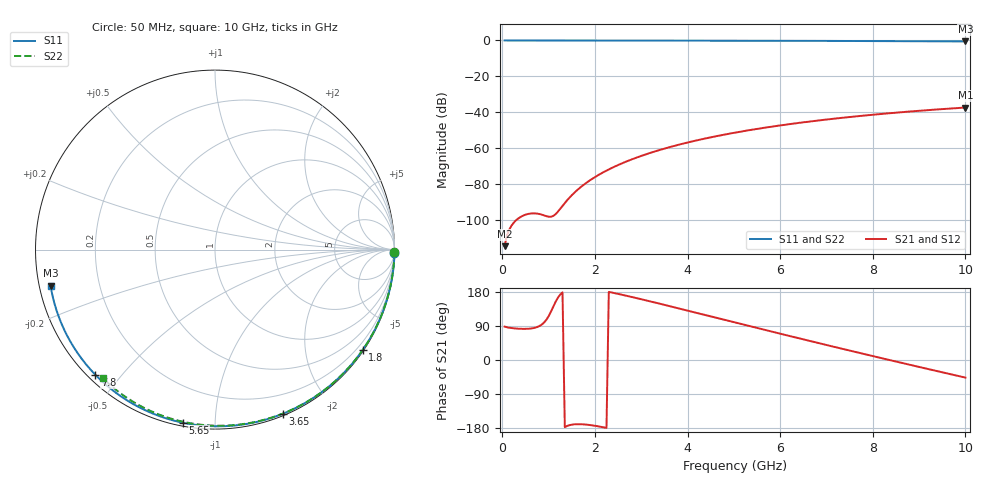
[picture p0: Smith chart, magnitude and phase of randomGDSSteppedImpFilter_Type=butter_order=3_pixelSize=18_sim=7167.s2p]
! freq	dB(S11)	phase(S11)	dB(S12)	phase(S12)
!  dB(S21)	phase(S21)	dB(S22)	phase(S22)
!S-par simulation data
#  GHz  S  DB  R 50
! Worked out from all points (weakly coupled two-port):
!   200 points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, 50 MHz to 10 GHz, reference 50 ohm
!   highest |S21| = -37.32 dB at 10 GHz (marker M1); lowest = -114.5 dB at 50 MHz (marker M2)
!   lowest |S11| = -0.6 dB at 10 GHz (marker M3), VSWR 31.23, Z = 1.62 - j5.42 ohm
!   |S11| at or under -10 dB: nowhere
!   |S22| runs from -0.4 to 0.0 dB; largest |S21 - S12| = 0
!   S11 on the Smith chart (normalised r, x): 50 MHz: open; 1.8 GHz: 0.03, -3.24; 3.65 GHz: 0.02, -1.50; 5.65 GHz: 0.02, -0.83; 7.8 GHz: 0.02, -0.43; 10 GHz: 0.03, -0.11
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0.05  -0.00 -1.0  -114.47 88.1  -114.47 88.1  -0.00 -0.8
0.45  -0.01 -8.7  -97.46 82.2  -97.46 82.2  -0.01 -6.8
0.85  -0.02 -16.4  -96.90 93.3  -96.90 93.3  -0.02 -12.8
1.3  -0.03 -24.9  -92.04 178.6  -92.04 178.6  -0.02 -19.5
1.75  -0.04 -33.4  -80.46 -169.8  -80.46 -169.8  -0.03 -26.2
1.8  -0.04 -34.3  -79.49 -170.3  -79.49 -170.3  -0.03 -26.9
2.1  -0.05 -39.8  -74.51 -175.6  -74.51 -175.6  -0.04 -31.3
2.3  -0.06 -43.5  -71.75 179.7  -71.75 179.7  -0.04 -34.2
2.5  -0.06 -47.1  -69.32 174.5  -69.32 174.5  -0.05 -37.0
2.9  -0.07 -54.3  -65.17 163.3  -65.17 163.3  -0.06 -42.8
3.4  -0.08 -63.2  -60.93 148.6  -60.93 148.6  -0.07 -49.8
3.65  -0.09 -67.5  -59.10 141.0  -59.10 141.0  -0.07 -53.3
4.35  -0.11 -79.4  -54.72 119.7  -54.72 119.7  -0.09 -62.8
5.05  -0.14 -90.9  -51.17 98.3  -51.17 98.3  -0.11 -72.1
5.65  -0.17 -100.5  -48.61 80.0  -48.61 80.0  -0.13 -79.8
6.15  -0.19 -108.4  -46.74 64.9  -46.74 64.9  -0.15 -86.1
6.7  -0.23 -116.9  -44.91 48.5  -44.91 48.5  -0.18 -92.9
7.25  -0.27 -125.3  -43.28 32.2  -43.28 32.2  -0.21 -99.5
7.8  -0.31 -133.7  -41.82 16.1  -41.82 16.1  -0.25 -106.0
8.35  -0.36 -142.0  -40.52 0.2  -40.52 0.2  -0.29 -112.4
9.2  -0.45 -155.0  -38.75 -24.0  -38.75 -24.0  -0.36 -122.2
10  -0.56 -167.6  -37.32 -46.4  -37.32 -46.4  -0.44 -131.2
